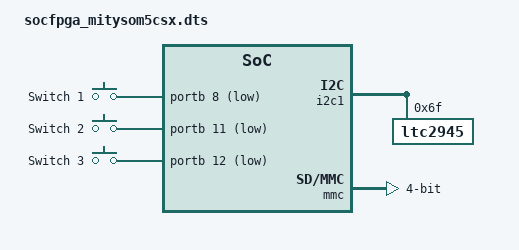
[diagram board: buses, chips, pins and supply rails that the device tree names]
#include "socfpga_mitysom5cse.dtsi"
#include <dt-bindings/interrupt-controller/irq.h>

/ {
	aliases {
		/* this allow the ethaddr uboot environmnet variable contents
		 * to be added to the gmac1 device tree blob.
		 */
		ethernet0 = &gmac1;
	};

	gpio_keys {
		compatible = "gpio-keys";
		#address-cells = <1>;
		#size-cells = <0>;
		/* GPIO 37 */
		button@1 {
			label = "Switch 1";
			linux,code = <0x101>;
			gpios = <&portb 8 1>;
			debounce-interval = <100>;
		};
		/* GPIO 40 */
		button@2 {
			label = "Switch 2";
			linux,code = <0x102>;
			gpios = <&portb 11 1>;
			debounce-interval = <100>;
		};
		/* GPIO 41 */
		button@3 {
			label = "Switch 3";
			linux,code = <0x103>;
			gpios = <&portb 12 1>;
			debounce-interval = <100>;
		};
	};
};

&i2c1 {
	speed-mode = <0>;
	status = "okay";
    /* Power Monitor */
	ltc2945@6F {
		compatible = "ltc2945";
		reg = <0x6F>;
    };
};

&mmc {
	status = "okay";
	num-slots = <1>;
	broken-cd;
	cap-mmc-highspeed;
	cap-sd-highspeed;
	altr,dw-mshc-ciu-div = <3>;
	altr,dw-mshc-sdr-timing = <0 3>;
	bus-width = <4>;
};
